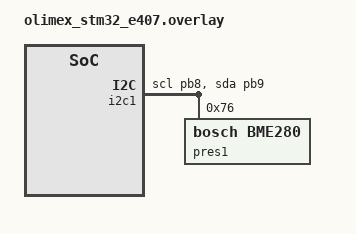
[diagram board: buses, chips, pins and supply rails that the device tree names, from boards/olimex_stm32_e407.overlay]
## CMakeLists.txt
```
cmake_minimum_required(VERSION 3.20.0)

find_package(Zephyr)

project(selog)

target_sources(
    app 
    PRIVATE
    src/main.c
    src/read_thread.c
    src/shell.c
    src/net_thread.c
)
```

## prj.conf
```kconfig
CONFIG_LOG=y
CONFIG_THREAD_NAME=y
CONFIG_LOG_BACKEND_UART=y
CONFIG_SHELL=y
CONFIG_TEST_RANDOM_GENERATOR=y
CONFIG_LOG_CMDS=y
CONFIG_MAIN_STACK_SIZE=4096

CONFIG_I2C_SHELL=y
CONFIG_BME280=y
CONFIG_SENSOR=y
CONFIG_SENSOR_SHELL=y

CONFIG_COMPILER_SAVE_TEMPS=y

CONFIG_NET_L2_ETHERNET=y
CONFIG_NETWORKING=y
CONFIG_NET_TCP=y
CONFIG_NET_IPV4=y
CONFIG_NET_SOCKETS=y

CONFIG_NET_LOG=y
CONFIG_NET_STATISTICS=y
CONFIG_NET_SHELL=y

CONFIG_NET_CONFIG_SETTINGS=y
CONFIG_NET_CONFIG_NEED_IPV4=y
CONFIG_NET_CONFIG_MY_IPV4_ADDR="192.168.8.2"
CONFIG_NET_CONFIG_PEER_IPV4_ADDR="192.168.8.1"

CONFIG_POSIX_API=y
```

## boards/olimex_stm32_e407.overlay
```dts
&i2c1 {
    pinctrl-0 = < &i2c1_scl_pb8 &i2c1_sda_pb9 >;
    pinctrl-names = "default";
    status = "okay";

    pres1: bme280@76 {
        compatible = "bosch,bme280";
        reg = <0x76>; // i2c bus address
    };
};
```

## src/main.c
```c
/*
 * Copyright (c) 2024 MyCompany
 * Author: Niklas Roth
 *
 * SPDX-License-Identifier: Apache-2.0
 */

#include <zephyr/kernel.h>
#include <zephyr/logging/log.h>
LOG_MODULE_REGISTER(selog, LOG_LEVEL_INF);

#include "selog.h"

extern void read_thread_entry(void* data, void* d1, void* d2);
extern void net_thread_entry(void* data, void* d1, void* d2);

#define READ_STACK_SIZE 512
#define READ_PRIORITY -5


#define NET_STACK_SIZE 2048
#define NET_PRIORITY -5

K_KERNEL_STACK_DEFINE(read_stack_area, READ_STACK_SIZE);
K_KERNEL_STACK_DEFINE(net_stack_area, NET_STACK_SIZE);

k_tid_t read_tid;
k_tid_t net_tid;

struct k_fifo se_fifo;

int main(void)
{
    int ret;
    struct k_thread read_thread_ctl;
    struct k_thread net_thread_ctl;

    k_fifo_init(&se_fifo);

    LOG_INF("Griasde from %s", CONFIG_BOARD);

    read_tid = k_thread_create(&read_thread_ctl, read_stack_area, 
                    K_KERNEL_STACK_SIZEOF(read_stack_area),
                    read_thread_entry,
                    NULL, NULL, NULL,
                    READ_PRIORITY, 0, K_NO_WAIT);

    net_tid = k_thread_create(&net_thread_ctl, net_stack_area, 
                    K_KERNEL_STACK_SIZEOF(net_stack_area),
                    net_thread_entry,
                    NULL, NULL, NULL,
                    NET_PRIORITY, 0, K_NO_WAIT);

    if (read_tid != &read_thread_ctl) {
        LOG_ERR("Error while creating a thread: %d", (int)read_tid);
        return 1;
    }

    if (net_tid != &net_thread_ctl) {
        LOG_ERR("Error while creating a thread: %d", (int)net_tid);
        return 1;
    }

    ret = k_thread_name_set(net_tid, "net_thread");
    if (ret)
        LOG_ERR("Error while creating a thread: %d", (int)net_tid);

    ret = k_thread_name_set(read_tid, "read_thread");
    if (ret)
        LOG_ERR("Error while creating a thread: %d", (int)read_tid);

    ret = k_thread_join(net_tid, K_FOREVER);
    if(!ret)
        LOG_DBG("NET thread terminated");
    else
        LOG_ERR("Error while terminating net thread: %d", ret);    

    ret = k_thread_join(read_tid, K_FOREVER);
    if(!ret)
        LOG_DBG("Read thread terminated");
    else
        LOG_ERR("Error while terminating read thread: %d", ret);

    LOG_INF("Servus");

    return 0;
}
```

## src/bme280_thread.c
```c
/*
 * Copyright (c) 2024 MyCompany
 * Author: Niklas Roth
 *
 * SPDX-License-Identifier: Apache-2.0
 */

#include <zephyr/kernel.h>
#include <zephyr/logging/log.h>
#include <zephyr/device.h>
#include <zephyr/drivers/sensor.h>

LOG_MODULE_REGISTER(bme280_thread, LOG_LEVEL_INF); 

void bme280_thread_entry(void* data, void* d1, void* d2)
{
    LOG_INF("I am the bme280 thread");

    const struct device *bme = DEVICE_DT_GET(DT_NODELABEL(pres1));
    struct sensor_value temp, pres, humi;
    char buf[100];

    //k_sleep(K_SECONDS(3));
    while(1) {
        LOG_INF("BME says hello");
        sensor_sample_fetch(bme);
        sensor_channel_get(bme, SENSOR_CHAN_AMBIENT_TEMP, &temp);
        sensor_channel_get(bme, SENSOR_CHAN_PRESS, &pres);
        sensor_channel_get(bme, SENSOR_CHAN_HUMIDITY, &humi);
        memset(buf, 0, sizeof(buf));
        sprintf(buf, "T: %d.%06d; P: %d.%06d; H: %d.%06d",
                        temp.val1, temp.val2,
                        pres.val1, pres.val2,
                        humi.val1, pres.val2);
        LOG_INF("%s", buf);
        k_sleep(K_SECONDS(10));
    }

    LOG_INF("bme280 thread stopped");
}
```

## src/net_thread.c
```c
/* net_thread.c: network thread
 *
 * Copyright (c) 2022, 2023 Andreas Klinger
 *
 * SPDX-License-Identifier: Apache-2.0
 */

#include <errno.h>
#include <stdio.h>
#include <zephyr/kernel.h>
#include <zephyr/net/socket.h>
#include <zephyr/logging/log.h>
LOG_MODULE_REGISTER(net_thread, LOG_LEVEL_INF);

#include "selog.h"

#define RECV_BUF_SIZE 128
#define PEER_PORT	2000


extern struct k_fifo se_fifo;

// extern int net_running;
int net_running = 1;

int sock_fd = -1;

K_SEM_DEFINE(run_app, 0, 1);

static ssize_t sendall(int sock, const void *buf, size_t len)
{
	while (len) {
		ssize_t out_len = send(sock, buf, len, 0);
		if (out_len < 0)
			return out_len;
		buf = (const char *)buf + out_len;
		len -= out_len;
	}

	return 0;
}

static int start_tcp(void)
{
	int ret;
	struct sockaddr_in addr4;

	addr4.sin_family = AF_INET;
	addr4.sin_port = htons(PEER_PORT);
	inet_pton(AF_INET, CONFIG_NET_CONFIG_PEER_IPV4_ADDR, &addr4.sin_addr);

	sock_fd = socket(addr4.sin_family, SOCK_STREAM, IPPROTO_TCP);
	if (sock_fd < 0) {
		LOG_ERR("Failed to create TCP socket: %d", errno);
		return -errno;
	}

	ret = connect(sock_fd, (struct sockaddr *)&addr4, sizeof(addr4));
	if (ret < 0) {
		LOG_ERR("Cannot connect to TCP remote: %d", errno);
		ret = -errno;
	}

	return ret;
}

static void stop_tcp(void)
{
	if (sock_fd >= 0)
		close(sock_fd);
	sock_fd = -1;
}

static int process_tcp(void)
{
	int ret, retry = 1;
	char buf[RECV_BUF_SIZE];
	struct se_bme *se_bme;

	do {
		se_bme = k_fifo_get(&se_fifo, K_FOREVER);
		memset(buf, 0, sizeof(buf));
		sprintf(buf, "T: %d.%06d; P: %d.%06d; H: %d.%06d",
                        se_bme->temp1, se_bme->temp2,
                        se_bme->pres1, se_bme->pres2,
                        se_bme->humi1, se_bme->humi2);
		k_free(se_bme);

		ret =  sendall(sock_fd, buf, strlen(buf));
		if (ret < 0) {
			LOG_ERR("TCP: Failed to send data, errno %d", errno);
			stop_tcp();
			start_tcp();
		} else
			LOG_DBG("TCP: Sent %d bytes", strlen(buf));

	} while (retry-- > 0);

	return ret;
}

void net_thread_entry(void *data, void *d1, void *d2)
{
	int ret = 0;

	LOG_INF("Servus from the net thread");

	if (!IS_ENABLED(CONFIG_NET_IPV4)) {
		LOG_ERR("IPV4 not enabled");
		net_running = 0;
		return;
	}

	start_tcp();

	while (net_running) {
		ret = process_tcp();
	}

	stop_tcp();

	LOG_INF("Bye-bye from the net thread with %d", ret);
}
```

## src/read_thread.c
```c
/*
 * Copyright (c) 2024 MyCompany
 * Author: Niklas Roth
 *
 * SPDX-License-Identifier: Apache-2.0
 */

#include <zephyr/kernel.h>
#include <zephyr/logging/log.h>
#include <zephyr/device.h>
#include <zephyr/drivers/sensor.h>
LOG_MODULE_REGISTER(read_thread, LOG_LEVEL_INF);

#include "selog.h"
extern struct k_fifo se_fifo;

void read_thread_entry(void* data, void* d1, void* d2)
{
    LOG_INF("Griasde from the read thread");
    const struct device *bme = DEVICE_DT_GET(DT_NODELABEL(pres1));
    struct sensor_value temp, pres, humi;
    char buf[100];
    struct se_bme *se_bme;

    //k_sleep(K_SECONDS(3));
    while(1) {
        LOG_INF("BME says hello");
        sensor_sample_fetch(bme);
        sensor_channel_get(bme, SENSOR_CHAN_AMBIENT_TEMP, &temp);
        sensor_channel_get(bme, SENSOR_CHAN_PRESS, &pres);
        sensor_channel_get(bme, SENSOR_CHAN_HUMIDITY, &humi);
        memset(buf, 0, sizeof(buf));
        sprintf(buf, "T: %d.%06d; P: %d.%06d; H: %d.%06d",
                        temp.val1, temp.val2,
                        pres.val1, pres.val2,
                        humi.val1, pres.val2);
        LOG_INF("%s", buf);

        se_bme = k_malloc(sizeof(struct se_bme));
        if (se_bme) {
            se_bme->temp1 = temp.val1;
            se_bme->temp2 = temp.val2;
            se_bme->humi1 = humi.val1;
            se_bme->humi2 = humi.val2;
            se_bme->pres1 = pres.val1;
            se_bme->pres2 = pres.val2;
            k_fifo_put(&se_fifo, se_bme);
        } else {
            LOG_ERR("k_malloc failed");
        }


        k_sleep(K_SECONDS(1));
    }

    LOG_INF("Pfirde from the read thread");
}
```

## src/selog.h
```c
/*
 * Copyright (c) 2024 MyCompany
 * Author: Niklas Roth
 *
 * SPDX-License-Identifier: Apache-2.0
 */

#ifndef _SELOG_H
#define _SELOG_H

#include <stdint.h>

struct se_bme {
    void    *reserved;
    int32_t temp1;
    int32_t temp2;
    int32_t humi1;
    int32_t humi2;
    int32_t pres1;
    int32_t pres2;
};

#endif /* _SELOG_H */
```

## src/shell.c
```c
/*
 * Copyright (c) 2024 MyCompany
 * Author: Niklas Roth
 *
 * SPDX-License-Identifier: Apache-2.0
 */

#include <stdlib.h>

#include <zephyr/kernel.h>
#include <zephyr/logging/log.h>
#include <zephyr/shell/shell.h>
#include <zephyr/random/random.h>
LOG_MODULE_REGISTER(shell, LOG_LEVEL_INF);

static int cmd_print_random(const struct shell *shell, size_t argc, char **argv)
{
    int cnt = 1;
    int i;
    char c;

    shell_print(shell, "START RANDOM:");

    if (argc >= 2)
        cnt = atoi(argv[1]);

    for (i = 0; i < cnt; i++) {
        sys_rand_get(&c, 1);
        shell_print(shell, "0x%02X", c);
    }

    shell_print(shell, ":END");

    return 0;
}

SHELL_STATIC_SUBCMD_SET_CREATE(sub_print, 
    SHELL_CMD(random, NULL, "<bytes> Print random hex bytes.", cmd_print_random),
    SHELL_SUBCMD_SET_END
);

SHELL_CMD_REGISTER(print, &sub_print, "Print system information", NULL);

//=====================================================================================================
//static k_tid_t* _read_tid_p;

//int set_thread(k_tid_t* read_tid_p)
//{
//    _read_tid_p = read_tid_p;
//}

extern k_tid_t read_tid;

static int cmd_selog_suspend(const struct shell *shell, size_t argc, char **argv)
{
    k_thread_suspend(read_tid);
    shell_print(shell, "Suspend Thread");

    return 0;
}

static int cmd_selog_resume(const struct shell *shell, size_t argc, char **argv)
{
    k_thread_resume(read_tid);
    shell_print(shell, "Resume Thread");

    return 0;
}

SHELL_STATIC_SUBCMD_SET_CREATE(sub_selog, 
    SHELL_CMD(suspend, NULL, "...Suspend", cmd_selog_suspend),
    SHELL_CMD(resume, NULL, "Resume...", cmd_selog_resume),
    SHELL_SUBCMD_SET_END
);

SHELL_CMD_REGISTER(selog, &sub_selog, "Controlling selog system", NULL);
```
